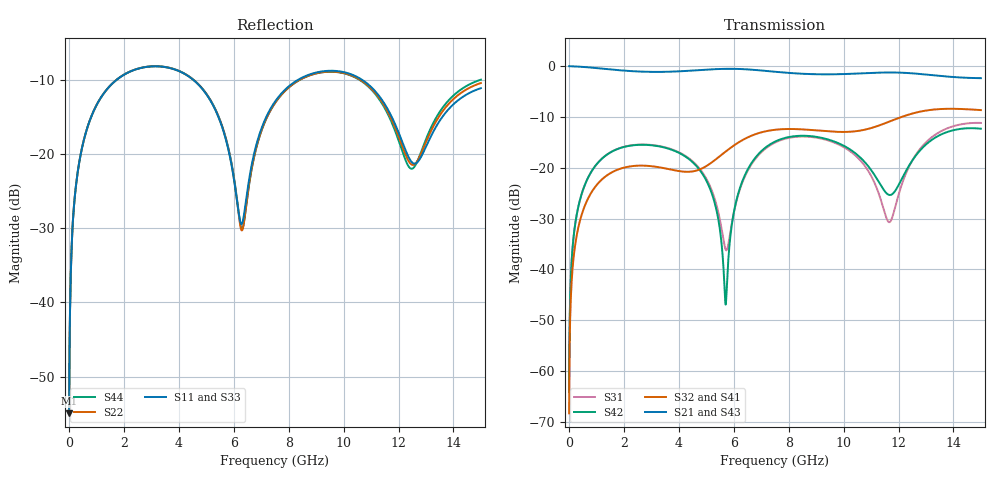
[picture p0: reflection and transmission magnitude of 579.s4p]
! Created with skrf 1.8.0 (http://scikit-rf.org).
# GHz S RI R 50.0
!freq ReS11 ImS11 ReS12 ImS12 ReS13 ImS13
! ReS14 ImS14
! ReS21 ImS21 ReS22 ImS22 ReS23 ImS23
! ReS24 ImS24
! ReS31 ImS31 ReS32 ImS32 ReS33 ImS33
! ReS34 ImS34
! ReS41 ImS41 ReS42 ImS42 ReS43 ImS43
! ReS44 ImS44
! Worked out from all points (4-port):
!   2499 points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, 5 MHz to 15 GHz, reference 50 ohm
!   strongest paths, dB at 5 MHz, 3.476 GHz, 7.19 GHz, 11.1 GHz, 15 GHz:
!     S21: 0.0, -1.1, -1.0, -1.3, -2.4
!     S43: 0.0, -1.1, -0.9, -1.3, -2.4
!     S32: -68.3, -20.1, -12.8, -12.0, -8.7
!     S41: -68.3, -20.2, -12.8, -12.1, -8.8
!     S42: -64.1, -16.0, -15.9, -21.2, -12.3
!     S31: -64.1, -15.9, -16.1, -22.6, -11.2
!   lowest |S11| = -55.0 dB at 5 MHz (marker M1), VSWR 1.00, Z = 50.1 + j0.108 ohm
!   |S11| at or under -10 dB: start of sweep to 1.748 GHz; 4.511 GHz to 8.362 GHz (3.851 GHz wide, 59.8 % of centre); 10.66 GHz to end of sweep
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0.005  0.00143 0.00108  0.9985 -0.00278  7.28e-05 0.000616  -7.04e-05 -0.000378
       0.9985 -0.00278  0.00143 0.00108  -7.04e-05 -0.000378  7.28e-05 0.000616
       7.28e-05 0.000616  -7.04e-05 -0.000378  0.00143 0.00108  0.9985 -0.00278
       -7.04e-05 -0.000378  7.28e-05 0.000616  0.9985 -0.00278  0.00143 0.00108
0.3126303  0.0191 0.0716  0.974 -0.1737  0.00926 0.0371  -0.00759 -0.0226
           0.974 -0.1737  0.0191 0.0716  -0.0076 -0.0226  0.00915 0.0371
           0.00926 0.0371  -0.0076 -0.0226  0.0191 0.0716  0.974 -0.1737
           -0.00759 -0.0226  0.00915 0.0371  0.974 -0.1737  0.0191 0.0716
1.569404  0.2297 0.1865  0.629 -0.6771  0.1228 0.077  -0.0881 -0.0197
          0.629 -0.6771  0.23 0.1864  -0.0883 -0.0195  0.1213 0.0786
          0.1228 0.077  -0.0883 -0.0195  0.2296 0.1866  0.6289 -0.6771
          -0.0881 -0.0197  0.1213 0.0786  0.6289 -0.6771  0.2301 0.1863
5.702376  0.0638 -0.1096  -0.8712 -0.3529  -0.0145 -0.00598  -0.0516 0.1345
          -0.8712 -0.3529  0.0617 -0.1124  -0.0482 0.1358  -0.00435 -0.00122
          -0.0145 -0.00598  -0.0482 0.1358  0.0643 -0.1106  -0.871 -0.3531
          -0.0516 0.1345  -0.00435 -0.00122  -0.871 -0.3531  0.0621 -0.1135
6.277616  0.0335 -0.0027  -0.9325 -0.0717  -0.00257 0.0674  -0.0117 0.1841
          -0.9325 -0.0717  0.0302 -0.0054  -0.00736 0.1844  0.00812 0.069
          -0.00257 0.0674  -0.00736 0.1844  0.0333 -0.00445  -0.9325 -0.072
          -0.0117 0.1841  0.00812 0.069  -0.9325 -0.072  0.0306 -0.00657
10.23551  0.3302 -0.0999  0.1742 0.8208  0.1084 -0.0971  0.2027 -0.0934
          0.1742 0.8208  0.3263 -0.0943  0.2007 -0.1043  0.1051 -0.1091
          0.1084 -0.0971  0.2007 -0.1043  0.3259 -0.0949  0.1758 0.8219
          0.2027 -0.0934  0.1051 -0.1091  0.1758 0.8219  0.3233 -0.0987
15  0.2732 0.0425  0.4429 -0.6187  0.2762 -0.00145  -0.3355 -0.1372
    0.4429 -0.6187  0.2954 0.0484  -0.349 -0.1207  0.2377 0.0464
    0.2762 -0.00145  -0.349 -0.1207  0.2701 0.0512  0.4388 -0.6182
    -0.3355 -0.1372  0.2377 0.0464  0.4388 -0.6182  0.3117 0.0477
